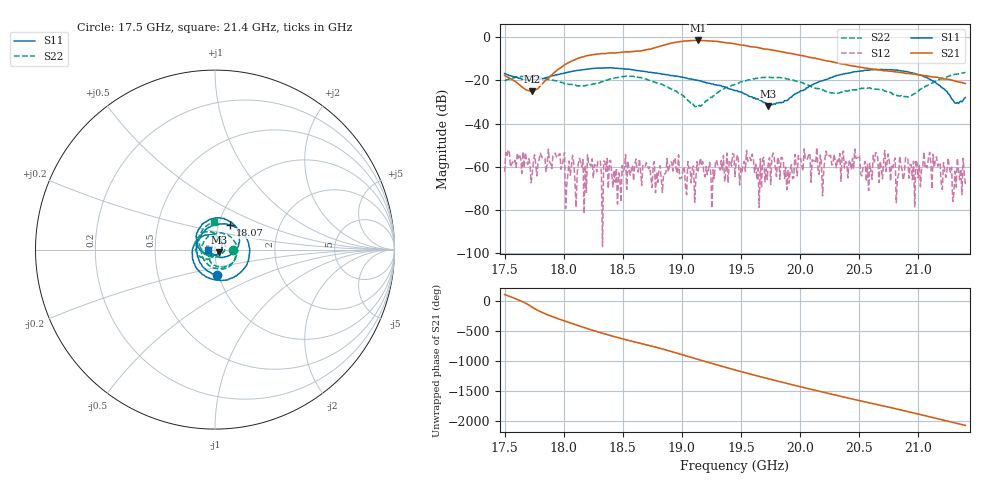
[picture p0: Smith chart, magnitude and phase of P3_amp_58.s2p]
!Created with skrf (http://scikit-rf.org).
# GHz S RI R 50.0
!freq ReS11 ImS11 ReS21 ImS21 ReS12 ImS12 ReS22 ImS22
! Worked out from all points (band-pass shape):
!   401 points, 17.5 GHz to 21.4 GHz, reference 50 ohm
!   highest |S21| = -1.46 dB at 19.14 GHz (marker M1); lowest = -25.1 dB at 17.73 GHz (marker M2)
!   |S21| within 3 dB of the highest: 18.79 GHz to 19.6 GHz (808.9 MHz wide, 4.21 % of centre)
!   lowest |S11| = -31.8 dB at 19.73 GHz (marker M3), VSWR 1.05, Z = 52.1 - j1.49 ohm
!   |S11| at or under -10 dB: start of sweep to end of sweep
!   |S22| runs from -32.2 to -16.2 dB; largest |S21 - S12| = 0.84
!   S11 on the Smith chart (normalised r, x): 17.5 GHz: 0.98, -0.29; 18.07 GHz: 1.13, +0.32; 21.4 GHz: 0.92, -0.00
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17.5  0.00861 -0.1439  -0.0547 0.1187  -0.00068 0.000329  0.0984 0.000149
17.734  -0.1034 0.00893  -0.00722 -0.0553  -0.000367 0.000552  0.0818 -0.0919
17.9485  -0.00786 0.1361  0.0528 0.1678  0.00146 0.000653  -0.0309 -0.0891
18.03625  0.06 0.1434  0.249 0.0541  0.000151 0.000685  -0.0635 -0.0512
18.0655  0.0822 0.1371  0.2763 -0.037  0.000891 -0.000421  -0.0722 -0.0363
18.15325  0.1418 0.1036  0.1411 -0.3149  0.000983 6.97e-06  -0.0733 0.0186
18.3385  0.1898 -0.04  -0.4187 0.00558  4.1e-05 -0.00135  0.0288 0.0924
18.514  0.0983 -0.1582  0.0477 0.4568  -0.000871 -0.000181  0.1238 0.000313
18.8065  -0.1068 -0.0976  0.2935 -0.5401  -5.67e-05 -0.000854  -0.0083 -0.0841
18.904  -0.1248 -0.0338  -0.3098 -0.6552  -0.000557 -0.00114  -0.0303 -0.0573
19.0015  -0.1156 0.0263  -0.8005 -0.1054  -9.27e-05 0.000569  -0.0326 -0.0329
19.138  -0.0626 0.0774  -0.2431 0.8094  1.68e-05 0.000796  -0.0134 -0.0207
19.294  0.000267 0.0785  0.769 0.2353  0.000915 0.00111  -0.0206 -0.0453
19.45  0.0331 0.0475  0.2433 -0.66  0.000521 -0.000268  -0.0656 -0.0477
19.606  0.0373 0.00935  -0.5209 -0.2904  0.00127 -0.000684  -0.1083 -0.00334
19.65475  0.0353 -0.0016  -0.5711 -0.0293  -6.29e-05 -9.32e-05  -0.1112 0.0224
19.73275  0.0212 -0.0142  -0.428 0.3053  0.000829 -0.00105  -0.1021 0.0566
19.94725  -0.0332 -0.0318  0.3287 0.2448  -0.000306 -0.000466  -0.0217 0.0993
20.10325  -0.0793 -0.00601  0.2611 -0.2086  -0.000987 -0.00105  0.0147 0.0677
20.37625  -0.0948 0.1049  -0.2299 -0.058  -0.000918 -0.00015  0.0132 0.056
20.7565  0.0861 0.155  0.1484 0.0702  0.00131 0.000153  0.0525 -0.00578
21.4  -0.0401 -0.00103  0.0132 0.0834  -0.000375 -3e-05  -0.00647 0.1545
